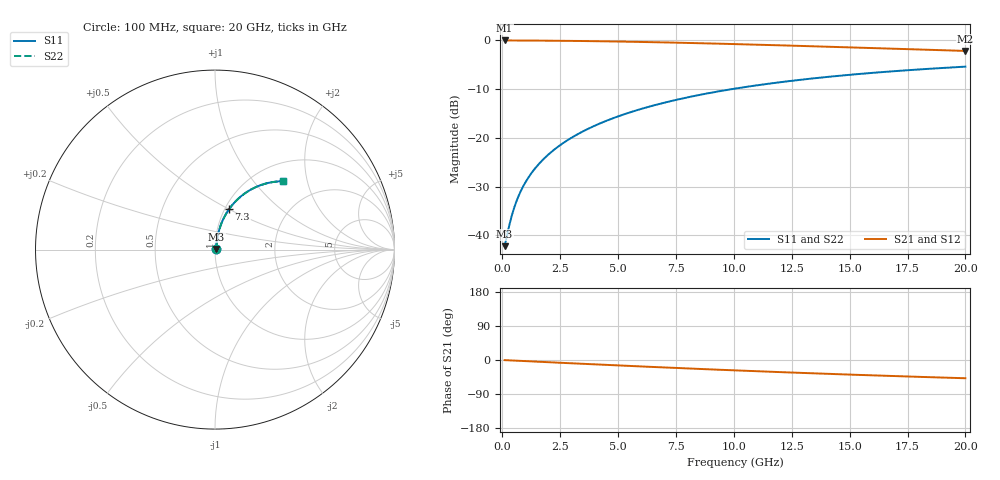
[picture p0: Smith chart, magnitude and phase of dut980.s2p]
! Touchstone file exported from HFSS 2024.1.0
!  File:  C:/UserFiles/LocalFiles/RDL_TSV_Batchsim/temp_RDL_top_980_1779939202.aedt
!  Generated:  11:35:33 AM May 28, 2026
!  Design:  RDL_top
!  Project:  temp_RDL_top_980_1779939202
!  Setup:  Setup1
!  Solution:  Sweep
! Variables:
!  dtsv = 10.80580581um
!  hbump = 3um
!  htsv = 81.29um
!  ldown = 100um
!  lrdl = 584.73um
!  p = 40
!  p1 = 58.17um
!  rhole = 1um
!  t = 450um
!  tdown = 3.915915916um
!  trdl = 2.31um
!  wdown = 15.38538539um
!  wrdl = 13.06um
# GHz S MA R 50.000000
! Terminal data exported
! Port[1] = Box2_T1
! Port[2] = Box2_T2
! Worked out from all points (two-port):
!   200 points, 100 MHz to 20 GHz, reference 50 ohm
!   highest |S21| = -0.06 dB at 100 MHz (marker M1); lowest = -2.2 dB at 20 GHz (marker M2)
!   |S21| within 3 dB of the highest: start of sweep to end of sweep
!   lowest |S11| = -42.2 dB at 100 MHz (marker M3), VSWR 1.02, Z = 50.7 + j0.353 ohm
!   |S11| at or under -10 dB: start of sweep to 9.951 GHz
!   |S22| runs from -42.2 to -5.4 dB; largest |S21 - S12| = 4.1e-15
!   S11 on the Smith chart (normalised r, x): 100 MHz: 1.01, +0.01; 7.3 GHz: 1.05, +0.50; 20 GHz: 1.34, +1.43
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0.1  0.007775 26.6  0.9931 -0.3  0.9931 -0.3  0.007775 26.6
! Gamma 0 0 0 0
! Port Impedance 50 0 50 0
0.3  0.01264 55.3  0.9928 -0.9  0.9928 -0.9  0.01264 55.3
0.4  0.01567 61.9  0.9927 -1.2  0.9927 -1.2  0.01567 61.9
0.5  0.01883 66.1  0.9925 -1.5  0.9925 -1.5  0.01883 66.1
0.6  0.02204 69.0  0.9922 -1.8  0.9922 -1.8  0.02204 69.0
0.7  0.02528 71.1  0.992 -2.1  0.992 -2.1  0.02528 71.1
0.9  0.03179 73.9  0.9915 -2.7  0.9915 -2.7  0.03179 73.9
1.2  0.04158 76.2  0.9906 -3.5  0.9906 -3.5  0.04158 76.2
1.4  0.04812 77.1  0.99 -4.1  0.99 -4.1  0.04812 77.1
1.7  0.05794 78.0  0.989 -5.0  0.989 -5.0  0.05793 77.9
2.2  0.07433 78.5  0.9869 -6.4  0.9869 -6.4  0.07432 78.5
2.8  0.09402 78.4  0.984 -8.1  0.984 -8.1  0.09402 78.4
3.5  0.117 77.8  0.9798 -10.1  0.9798 -10.1  0.117 77.7
4.2  0.1398 76.8  0.9749 -12.1  0.9749 -12.1  0.1398 76.8
5  0.1658 75.4  0.9684 -14.3  0.9684 -14.3  0.1657 75.4
6.8  0.2228 71.9  0.9508 -19.2  0.9508 -19.2  0.2228 71.9
7.3  0.2383 70.8  0.9453 -20.5  0.9453 -20.5  0.2382 70.8
8.6  0.2774 68.0  0.93 -23.8  0.93 -23.8  0.2773 68.0
10.1  0.3204 64.8  0.911 -27.5  0.911 -27.5  0.3203 64.8
13.4  0.4055 57.8  0.8661 -35.1  0.8661 -35.1  0.4053 57.8
16.7  0.477 51.3  0.8201 -42.0  0.8201 -42.0  0.4767 51.2
20  0.5355 45.3  0.7759 -48.1  0.7759 -48.1  0.5352 45.3
